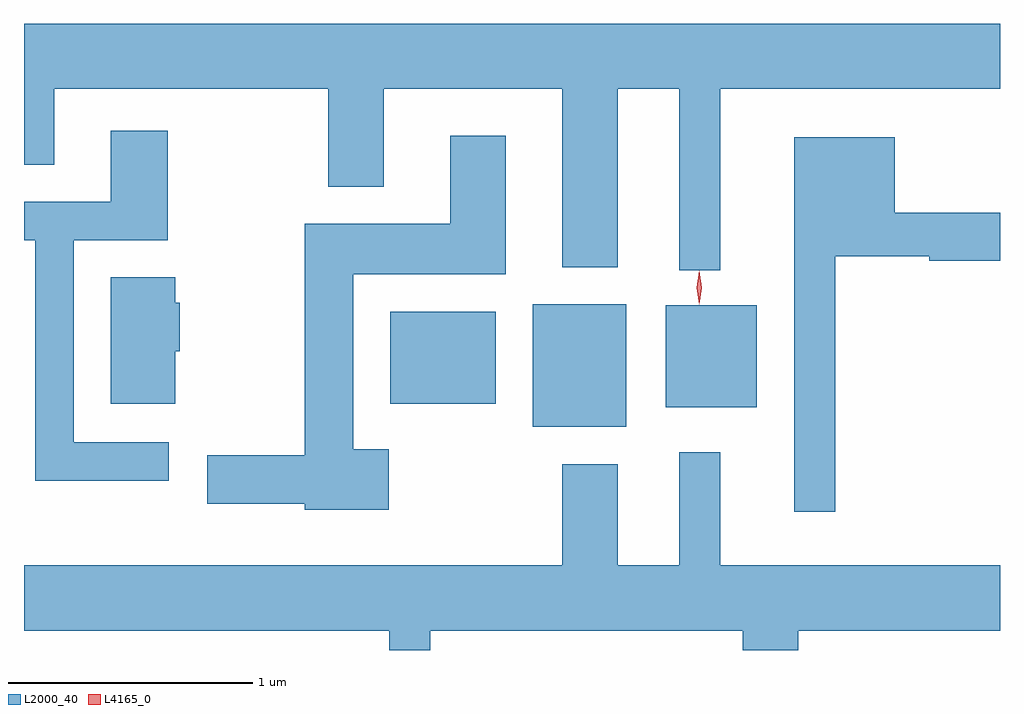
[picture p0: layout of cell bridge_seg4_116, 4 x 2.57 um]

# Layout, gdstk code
import gdstk
lib = gdstk.Library(unit=1e-6, precision=1e-09)
def R(c, l, rs):  # rectangles x0, y0, x1, y1
    for r in rs: c.add(gdstk.rectangle(r[:2], r[2:], *l))
def P(c, l, *ps):  # polygons
    for p in ps: c.add(gdstk.Polygon(p, *l))
L2000_40 = (2000, 40)
L4165_0 = (4165, 0)

bridge_seg4_116 = lib.new_cell('bridge_seg4_116')
R(bridge_seg4_116, L2000_40, [(824.141,1371.051,824.524,1371.554), (824.686,1371.131,825.059,1371.549), (823.556,1371.146,823.989,1371.524)])
P(bridge_seg4_116, L2000_40, [(822.055,1372.126),(822.179,1372.126),(822.179,1372.436),(823.301,1372.436),(823.301,1372.036),(823.529,1372.036),(823.529,1372.436),(824.261,1372.436),(824.261,1371.706),(824.489,1371.706),(824.489,1372.436),(824.741,1372.436),(824.741,1371.693),(824.909,1371.693),(824.909,1372.436),(826.055,1372.436),(826.055,1372.704),(822.055,1372.704)],
  [(822.648,1370.989),(822.259,1370.989),(822.259,1371.816),(822.644,1371.816),(822.644,1372.264),(822.411,1372.264),(822.411,1371.974),(822.055,1371.974),(822.055,1371.816),(822.101,1371.816),(822.101,1370.831),(822.648,1370.831)],
  [(823.549,1370.959),(823.404,1370.959),(823.404,1371.676),(824.029,1371.676),(824.029,1372.244),(823.801,1372.244),(823.801,1371.884),(823.206,1371.884),(823.206,1370.934),(822.806,1370.934),(822.806,1370.736),(823.206,1370.736),(823.206,1370.711),(823.549,1370.711)],
  [(825.379,1371.751),(825.766,1371.751),(825.766,1371.731),(826.055,1371.731),(826.055,1371.929),(825.624,1371.929),(825.624,1372.239),(825.211,1372.239),(825.211,1370.703),(825.379,1370.703)],
  [(822.674,1371.361),(822.694,1371.361),(822.694,1371.559),(822.674,1371.559),(822.674,1371.664),(822.411,1371.664),(822.411,1371.146),(822.674,1371.146)],
  [(823.719,1370.216),(825.001,1370.216),(825.001,1370.135),(825.229,1370.135),(825.229,1370.216),(826.055,1370.216),(826.055,1370.484),(824.909,1370.484),(824.909,1370.948),(824.741,1370.948),(824.741,1370.484),(824.489,1370.484),(824.489,1370.899),(824.261,1370.899),(824.261,1370.484),(822.055,1370.484),(822.055,1370.216),(823.551,1370.216),(823.551,1370.135),(823.719,1370.135)])
P(bridge_seg4_116, L4165_0, [(824.822,1371.554),(824.813,1371.622),(824.822,1371.69),(824.823,1371.69),(824.823,1371.69),(824.833,1371.622),(824.823,1371.554),(824.823,1371.554)],
  [(824.822,1371.558),(824.813,1371.622),(824.822,1371.687),(824.823,1371.687),(824.823,1371.687),(824.833,1371.622),(824.823,1371.558),(824.823,1371.558)])

lib.write_gds('bridge_seg4_116.gds')
